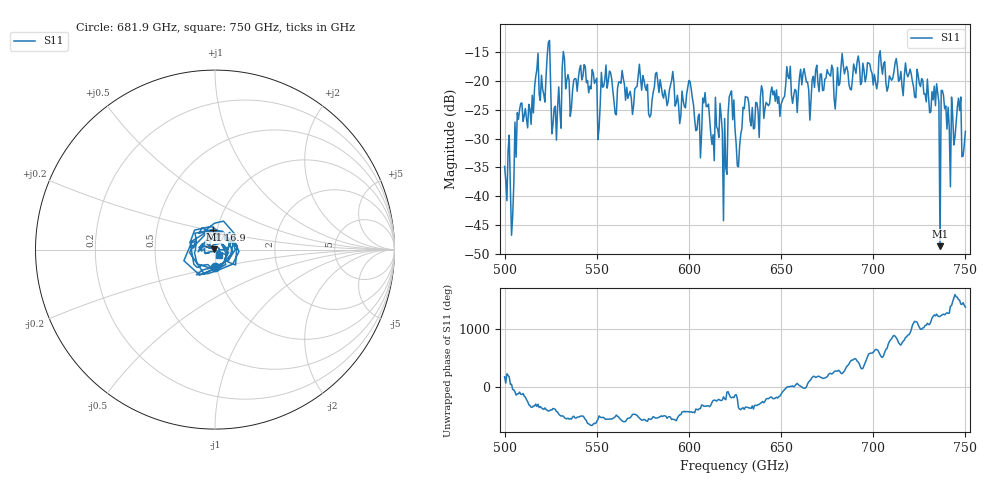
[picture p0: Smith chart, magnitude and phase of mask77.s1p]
!Created with skrf (http://scikit-rf.org).
# GHz S MA R 50.0
!freq magS11 angS11
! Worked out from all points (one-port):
!   401 points, 500 GHz to 750 GHz, reference 50 ohm
!   lowest |S11| = -48.7 dB at 736.2 GHz (marker M1), VSWR 1.01, Z = 49.7 + j0.199 ohm
!   |S11| at or under -10 dB: start of sweep to end of sweep
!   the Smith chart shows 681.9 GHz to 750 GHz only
!   S11 on the Smith chart (normalised r, x): 681.9 GHz: 0.98, -0.19; 716.9 GHz: 0.95, +0.22; 750 GHz: 1.05, -0.06
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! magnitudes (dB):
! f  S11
! 500 GHz  -34.8
! 504.4 GHz  -43.6
! 508.1 GHz  -24.9
! 513.1 GHz  -24.0
! 517.5 GHz  -18.0
! 523.8 GHz  -13.3
! 526.9 GHz  -24.8
! 531.2 GHz  -17.6
! 551.9 GHz  -24.1
! 562.5 GHz  -20.1
! 593.8 GHz  -22.5
! 600.6 GHz  -20.1
! 605.6 GHz  -25.7
! 609.4 GHz  -24.4
! 619.4 GHz  -26.5
! 622.5 GHz  -22.2
! 625 GHz  -28.3
! 656.2 GHz  -23.9
! 681.9 GHz  -20.4
! 687.5 GHz  -21.4
! 716.9 GHz  -19.0
! 718.8 GHz  -19.2
! 734.4 GHz  -20.5
! 736.2 GHz  -48.7
! 738.1 GHz  -22.5
! 740.6 GHz  -24.5
! 746.2 GHz  -23.0
! 750 GHz  -28.7
